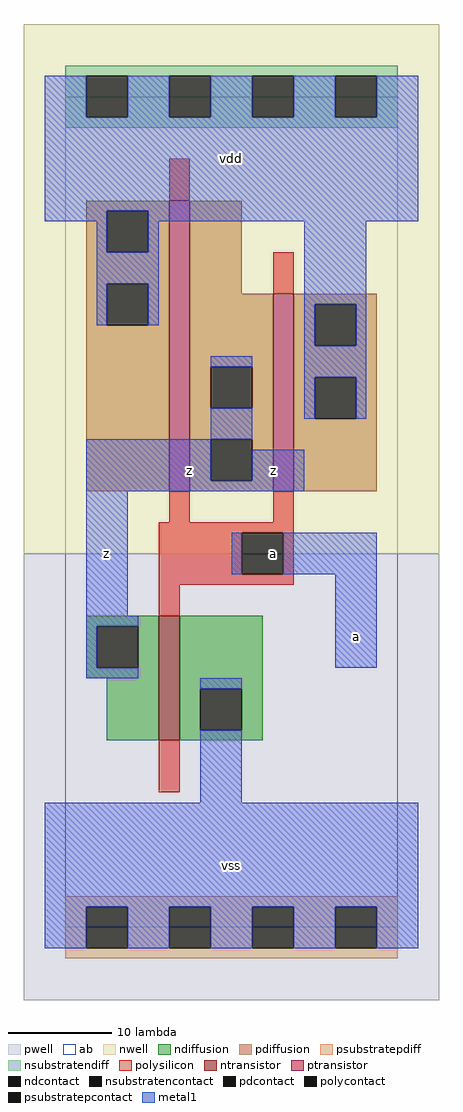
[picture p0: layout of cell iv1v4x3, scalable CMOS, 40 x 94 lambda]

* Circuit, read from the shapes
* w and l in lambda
.subckt iv1v4x3 a vdd vss z
M1 vss a z vss nfet w=12 l=2
M2 z a vdd vdd pfet w=28 l=2
M3 vdd a z vdd pfet w=19 l=2
.ends

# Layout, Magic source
magic
tech scmos
<< ab >>
rect 0 0 32 80
<< pwell >>
rect -4 -7 36 36
<< nwell >>
rect -4 36 36 87
<< polysilicon >>
rect 10 70 12 74
rect 20 61 22 65
rect 10 39 12 42
rect 20 39 22 42
rect 9 38 22 39
rect 9 34 17 38
rect 21 34 22 38
rect 9 33 22 34
rect 9 30 11 33
rect 9 13 11 18
<< ndiffusion >>
rect 2 29 9 30
rect 2 25 3 29
rect 7 25 9 29
rect 2 24 9 25
rect 4 18 9 24
rect 11 23 19 30
rect 11 19 13 23
rect 17 19 19 23
rect 11 18 19 19
<< pdiffusion >>
rect 2 69 10 70
rect 2 65 4 69
rect 8 65 10 69
rect 2 62 10 65
rect 2 58 4 62
rect 8 58 10 62
rect 2 42 10 58
rect 12 61 17 70
rect 12 54 20 61
rect 12 50 14 54
rect 18 50 20 54
rect 12 47 20 50
rect 12 43 14 47
rect 18 43 20 47
rect 12 42 20 43
rect 22 60 30 61
rect 22 56 24 60
rect 28 56 30 60
rect 22 53 30 56
rect 22 49 24 53
rect 28 49 30 53
rect 22 42 30 49
<< metal1 >>
rect -2 78 2 82
rect 6 78 10 82
rect 14 78 18 82
rect 22 78 26 82
rect 30 78 34 82
rect -2 69 34 78
rect -2 68 4 69
rect 3 65 4 68
rect 8 68 34 69
rect 8 65 9 68
rect 3 62 9 65
rect 3 58 4 62
rect 8 58 9 62
rect 23 60 29 68
rect 23 56 24 60
rect 28 56 29 60
rect 14 54 18 55
rect 14 47 18 50
rect 23 53 29 56
rect 23 49 24 53
rect 28 49 29 53
rect 2 43 14 47
rect 18 43 23 46
rect 2 42 23 43
rect 2 30 6 42
rect 16 34 17 38
rect 21 34 30 38
rect 2 29 7 30
rect 2 25 3 29
rect 26 25 30 34
rect 2 24 7 25
rect 13 23 17 24
rect 13 12 17 19
rect -2 2 34 12
rect -2 -2 2 2
rect 6 -2 10 2
rect 14 -2 18 2
rect 22 -2 26 2
rect 30 -2 34 2
<< ntransistor >>
rect 9 18 11 30
<< ptransistor >>
rect 10 42 12 70
rect 20 42 22 61
<< polycontact >>
rect 17 34 21 38
<< ndcontact >>
rect 3 25 7 29
rect 13 19 17 23
<< pdcontact >>
rect 4 65 8 69
rect 4 58 8 62
rect 14 50 18 54
rect 14 43 18 47
rect 24 56 28 60
rect 24 49 28 53
<< psubstratepcontact >>
rect 2 -2 6 2
rect 10 -2 14 2
rect 18 -2 22 2
rect 26 -2 30 2
<< nsubstratencontact >>
rect 2 78 6 82
rect 10 78 14 82
rect 18 78 22 82
rect 26 78 30 82
<< psubstratepdiff >>
rect 0 2 32 3
rect 0 -2 2 2
rect 6 -2 10 2
rect 14 -2 18 2
rect 22 -2 26 2
rect 30 -2 32 2
rect 0 -3 32 -2
<< nsubstratendiff >>
rect 0 82 32 83
rect 0 78 2 82
rect 6 78 10 82
rect 14 78 18 82
rect 22 78 26 82
rect 30 78 32 82
rect 0 77 32 78
<< labels >>
rlabel metal1 4 36 4 36 6 z
rlabel metal1 12 44 12 44 6 z
rlabel metal1 16 6 16 6 6 vss
rlabel polycontact 20 36 20 36 6 a
rlabel metal1 20 44 20 44 6 z
rlabel metal1 16 74 16 74 6 vdd
rlabel metal1 28 28 28 28 6 a
<< end >>
